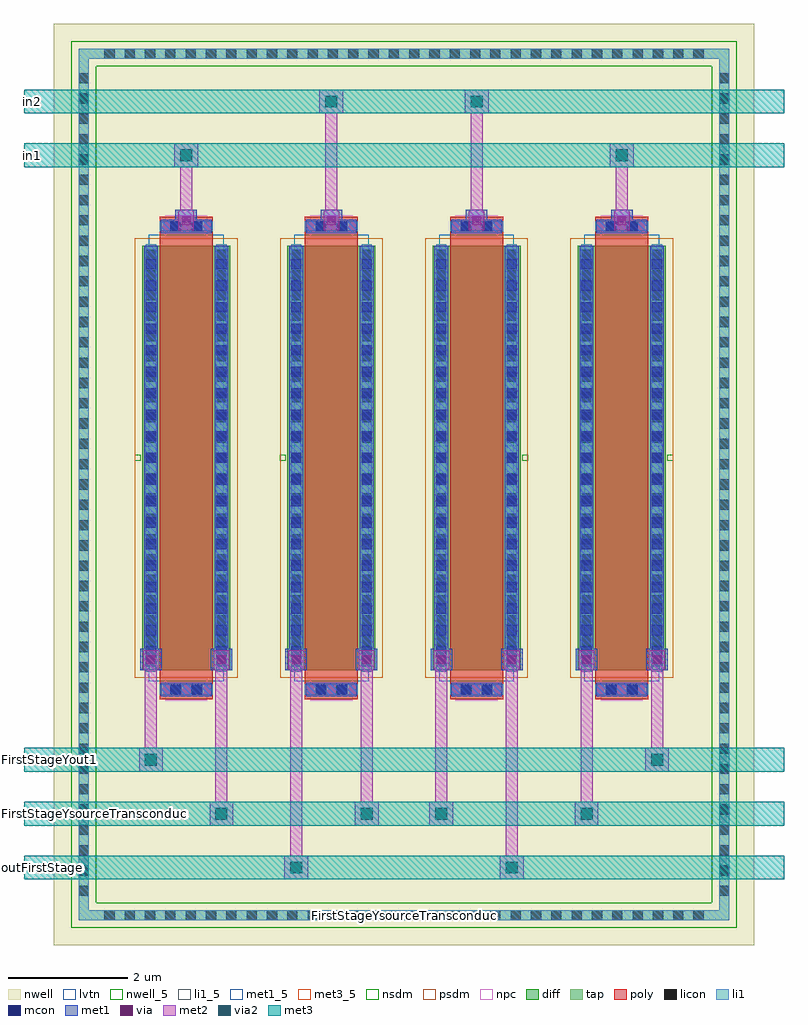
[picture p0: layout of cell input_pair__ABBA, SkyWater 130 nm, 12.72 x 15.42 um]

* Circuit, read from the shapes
.subckt input_pair__ABBA FirstStageYout1 FirstStageYsourceTransconductance FirstStageYsourceTransconductance_body in1 in2 outFirstStage
XM1 FirstStageYsourceTransconductance in1 FirstStageYout1 FirstStageYsourceTransconductance_body sky130_fd_pr__pfet_01v8_lvt w=7.11 l=0.89 m=2
XM2 FirstStageYsourceTransconductance in2 outFirstStage FirstStageYsourceTransconductance_body sky130_fd_pr__pfet_01v8_lvt w=7.11 l=0.89 m=2
.ends

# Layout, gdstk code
from math import pi, radians
import gdstk
lib = gdstk.Library(unit=1e-6, precision=1e-09)
def R(c, l, rs):  # rectangles x0, y0, x1, y1
    for r in rs: c.add(gdstk.rectangle(r[:2], r[2:], *l))
def A(c, l, x, y, w, h, nx, ny, dx, dy):  # array of equal rectangles
    R(c, l, [(x+i*dx, y+j*dy, x+i*dx+w, y+j*dy+h) for i in range(nx) for j in range(ny)])
nwell_5 = (64, 5)
nwell = (64, 20)
diff = (65, 20)
tap = (65, 44)
poly = (66, 20)
licon = (66, 44)
li1_5 = (67, 5)
li1 = (67, 20)
mcon = (67, 44)
met1_5 = (68, 5)
met1 = (68, 20)
via = (68, 44)
met2 = (69, 20)
via2 = (69, 44)
met3_5 = (70, 5)
met3 = (70, 20)
nsdm = (93, 44)
psdm = (94, 20)
npc = (95, 20)
lvtn = (125, 44)

sky130_fd_pr__pfet_01v8_ = lib.new_cell('sky130_fd_pr__pfet_01v8_lvt_NF2RB5')
R(sky130_fd_pr__pfet_01v8_, nwell, [(-0.915,-4.055,0.915,4.055)])
R(sky130_fd_pr__pfet_01v8_, diff, [(-0.735,-3.555,0.735,3.555)])
R(sky130_fd_pr__pfet_01v8_, poly, [(-0.445,-4.04,0.445,4.04)])
A(sky130_fd_pr__pfet_01v8_, licon, -0.675, -3.485, 0.17, 0.17, 1, 21, 0, 0.34)
A(sky130_fd_pr__pfet_01v8_, licon, 0.505, -3.485, 0.17, 0.17, 1, 21, 0, 0.34)
R(sky130_fd_pr__pfet_01v8_, licon, [(-0.255,-3.96,-0.085,-3.79), (0.085,-3.96,0.255,-3.79), (-0.255,3.79,-0.085,3.96), (0.085,3.79,0.255,3.96)])
R(sky130_fd_pr__pfet_01v8_, li1, [(-0.445,-3.96,0.445,-3.79), (-0.675,-3.575,-0.505,3.575), (0.505,-3.575,0.675,3.575), (-0.445,3.79,0.445,3.96)])
A(sky130_fd_pr__pfet_01v8_, mcon, -0.675, -3.325, 0.17, 0.17, 1, 19, 0, 0.36)
A(sky130_fd_pr__pfet_01v8_, mcon, 0.505, -3.325, 0.17, 0.17, 1, 19, 0, 0.36)
R(sky130_fd_pr__pfet_01v8_, mcon, [(-0.265,-3.96,-0.095,-3.79), (0.095,-3.96,0.265,-3.79), (-0.265,3.79,-0.095,3.96), (0.095,3.79,0.265,3.96)])
R(sky130_fd_pr__pfet_01v8_, met1, [(-0.425,-3.99,0.425,-3.76), (-0.705,-3.555,-0.475,3.555), (0.475,-3.555,0.705,3.555), (-0.425,3.76,0.425,3.99)])
R(sky130_fd_pr__pfet_01v8_, psdm, [(-0.86,-3.68,0.86,3.68)])
R(sky130_fd_pr__pfet_01v8_, npc, [(-0.355,-4.06,0.355,-3.69), (-0.355,3.69,0.355,4.06)])
R(sky130_fd_pr__pfet_01v8_, lvtn, [(-0.625,-3.735,0.625,3.735)])
sky130_fd_pr__pfet_01v8_.add(gdstk.Label('D', (-0.59,0), layer=67, texttype=5))
sky130_fd_pr__pfet_01v8_.add(gdstk.Label('S', (0.59,0), layer=67, texttype=5))
sky130_fd_pr__pfet_01v8_.add(gdstk.Label('G', (0,3.875), layer=67, texttype=5))

pfet_01v8_lvt_w7p105_l0p = lib.new_cell('pfet_01v8_lvt_W7p105_L0p89_m1__nf1_gboth_sdfull_ng')
R(pfet_01v8_lvt_w7p105_l0p, nwell_5, [(0.05,4.005,0.15,4.105)])
R(pfet_01v8_lvt_w7p105_l0p, nwell, [(0.05,4.005,0.15,4.105)])
R(pfet_01v8_lvt_w7p105_l0p, met1_5, [(0.21,4.055,0.44,4.255), (1.39,4.055,1.62,4.255), (0.49,7.815,1.34,8.045)])
R(pfet_01v8_lvt_w7p105_l0p, met1, [(0.21,4.055,0.44,4.255), (1.39,4.055,1.62,4.255), (0.49,7.815,1.34,8.045)])
pfet_01v8_lvt_w7p105_l0p.add(gdstk.Reference(sky130_fd_pr__pfet_01v8_, (0.915,4.055)))
pfet_01v8_lvt_w7p105_l0p.add(gdstk.Label('D', (0.325,4.155), layer=68, texttype=5))
pfet_01v8_lvt_w7p105_l0p.add(gdstk.Label('S', (1.505,4.155), layer=68, texttype=5))
pfet_01v8_lvt_w7p105_l0p.add(gdstk.Label('G', (0.915,7.93), layer=68, texttype=5))
pfet_01v8_lvt_w7p105_l0p.add(gdstk.Label('B', (0.1,4.055), layer=64, texttype=5))

input_pair__abba = lib.new_cell('input_pair__ABBA')
R(input_pair__abba, nwell, [(-1.3,-4.1,10.42,11.32)])
R(input_pair__abba, tap, [(-0.885,-3.685,10.005,-3.515), (-0.885,-3.515,-0.715,10.735), (9.835,-3.515,10.005,10.735), (-0.885,10.735,10.005,10.905)])
A(input_pair__abba, licon, -0.455, -3.685, 0.17, 0.17, 30, 2, 0.34, 14.42)
A(input_pair__abba, licon, -0.885, -3.275, 0.17, 0.17, 1, 41, 0, 0.34)
A(input_pair__abba, licon, 9.835, -3.275, 0.17, 0.17, 1, 41, 0, 0.34)
R(input_pair__abba, li1_5, [(4.51,-3.65,4.61,-3.55)])
R(input_pair__abba, li1, [(-0.885,-3.685,10.005,-3.515), (-0.885,-3.515,-0.715,10.735), (9.835,-3.515,10.005,10.735), (-0.885,10.735,10.005,10.905)])
A(input_pair__abba, met1, 0.735, 7.845, 0.36, 0.36, 4, 1, 2.43, 0)
R(input_pair__abba, met1, [(0.145,0.5,0.505,0.86), (1.325,0.5,1.685,0.86), (2.575,0.5,2.935,0.86), (3.755,0.5,4.115,0.86), (5.005,0.5,5.365,0.86), (6.185,0.5,6.545,0.86), (7.435,0.5,7.795,0.86), (8.615,0.5,8.975,0.86)])
A(input_pair__abba, via, 0.84, 7.95, 0.15, 0.15, 4, 1, 2.43, 0)
R(input_pair__abba, via, [(0.25,0.605,0.4,0.755), (1.43,0.605,1.58,0.755), (2.68,0.605,2.83,0.755), (3.86,0.605,4.01,0.755), (5.11,0.605,5.26,0.755), (6.29,0.605,6.44,0.755), (7.54,0.605,7.69,0.755), (8.72,0.605,8.87,0.755)])
A(input_pair__abba, met2, 0.785, 7.865, 0.26, 0.32, 4, 1, 2.43, 0)
R(input_pair__abba, met2, [(2.555,-3,2.955,-2.6), (6.165,-3,6.565,-2.6), (2.655,-2.6,2.855,0.52), (6.265,-2.6,6.465,0.52), (1.305,-2.1,1.705,-1.7), (3.735,-2.1,4.135,-1.7), (4.985,-2.1,5.385,-1.7), (7.415,-2.1,7.815,-1.7), (1.405,-1.7,1.605,0.52), (3.835,-1.7,4.035,0.52), (5.085,-1.7,5.285,0.52), (7.515,-1.7,7.715,0.52), (0.125,-1.2,0.525,-0.8), (8.595,-1.2,8.995,-0.8), (0.225,-0.8,0.425,0.52), (8.695,-0.8,8.895,0.52), (0.195,0.52,0.455,0.84), (1.375,0.52,1.635,0.84), (2.625,0.52,2.885,0.84), (3.805,0.52,4.065,0.84), (5.055,0.52,5.315,0.84), (6.235,0.52,6.495,0.84), (7.485,0.52,7.745,0.84), (8.665,0.52,8.925,0.84), (0.815,8.185,1.015,8.92), (3.245,8.185,3.445,9.82), (5.675,8.185,5.875,9.82), (8.105,8.185,8.305,8.92), (0.715,8.92,1.115,9.32), (8.005,8.92,8.405,9.32), (3.145,9.82,3.545,10.22), (5.575,9.82,5.975,10.22)])
R(input_pair__abba, via2, [(2.655,-2.9,2.855,-2.7), (6.265,-2.9,6.465,-2.7), (1.405,-2,1.605,-1.8), (3.835,-2,4.035,-1.8), (5.085,-2,5.285,-1.8), (7.515,-2,7.715,-1.8), (0.225,-1.1,0.425,-0.9), (8.695,-1.1,8.895,-0.9), (0.815,9.02,1.015,9.22), (8.105,9.02,8.305,9.22), (3.245,9.92,3.445,10.12), (5.675,9.92,5.875,10.12)])
A(input_pair__abba, met3_5, -1.7, -2.85, 0.1, 0.1, 1, 3, 0, 0.9)
R(input_pair__abba, met3_5, [(-1.7,9.07,-1.6,9.17), (-1.7,9.97,-1.6,10.07)])
A(input_pair__abba, met3, -1.8, -3, 12.72, 0.4, 1, 3, 0, 0.9)
R(input_pair__abba, met3, [(-1.8,8.92,10.92,9.32), (-1.8,9.82,10.92,10.22)])
R(input_pair__abba, nsdm, [(-1.01,-3.81,10.13,-3.39), (-1.01,-3.39,-0.59,10.61), (9.71,-3.39,10.13,10.61), (-1.01,10.61,10.13,11.03)])
input_pair__abba.add(gdstk.Reference(pfet_01v8_lvt_w7p105_l0p, (9.12,0), rotation=pi, x_reflection=True))
input_pair__abba.add(gdstk.Reference(pfet_01v8_lvt_w7p105_l0p, (6.69,0), rotation=pi, x_reflection=True))
input_pair__abba.add(gdstk.Reference(pfet_01v8_lvt_w7p105_l0p, (2.43,0)))
input_pair__abba.add(gdstk.Reference(pfet_01v8_lvt_w7p105_l0p, (0,0)))
input_pair__abba.add(gdstk.Label('in1', (-1.65,9.12), layer=70, texttype=5))
input_pair__abba.add(gdstk.Label('in2', (-1.65,10.02), layer=70, texttype=5))
input_pair__abba.add(gdstk.Label('FirstStageYout1', (-1.65,-1), layer=70, texttype=5))
input_pair__abba.add(gdstk.Label('FirstStageYsourceTransconductance', (-1.65,-1.9), layer=70, texttype=5))
input_pair__abba.add(gdstk.Label('outFirstStage', (-1.65,-2.8), layer=70, texttype=5))
input_pair__abba.add(gdstk.Label('FirstStageYsourceTransconductance_body', (4.56,-3.6), layer=67, texttype=5))

lib.write_gds('input_pair__ABBA.gds')
